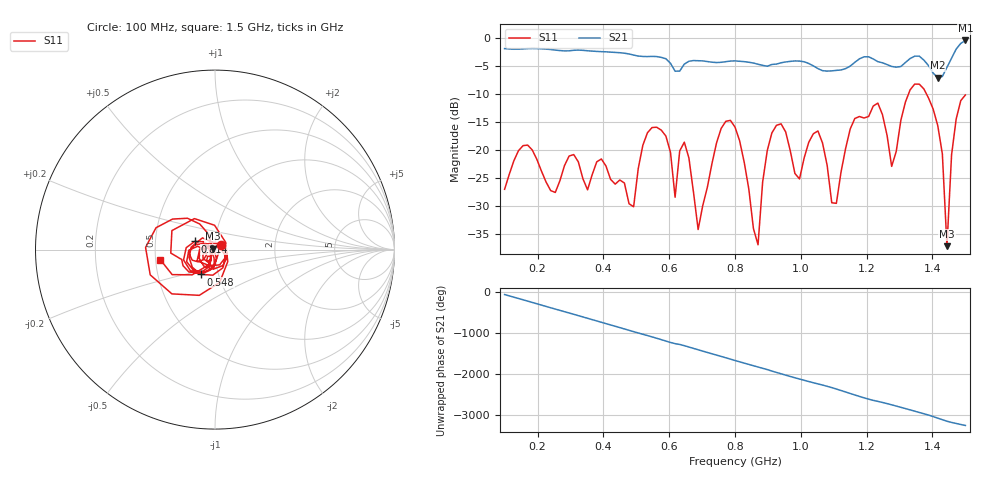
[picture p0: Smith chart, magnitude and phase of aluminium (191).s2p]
! NanoVNA-App
! Date: 2025-09-25 14:56:46
! Start: 100MHz Stop: 1,5GHz Points: 101
! S-Parameter data: F S11 S21 S12 S22
# Hz S RI R 50
!  Frequency  S11_Real  S11_Imag  S21_Real  S21_Imag  S12_Real  S12_Imag  S22_Real  S22_Imag
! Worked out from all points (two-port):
!   101 points, 100 MHz to 1.5 GHz, reference 50 ohm
!   highest |S21| = -0.47 dB at 1.5 GHz (marker M1); lowest = -7.1 dB at 1.416 GHz (marker M2)
!   |S21| within 3 dB of the highest: start of sweep to 575 MHz; 1.459 GHz to end of sweep (the widest 2 of 4)
!   lowest |S11| = -37.1 dB at 1.444 GHz (marker M3), VSWR 1.03, Z = 48.7 + j0.424 ohm
!   |S11| at or under -10 dB: start of sweep to 1.327 GHz; 1.382 GHz to end of sweep
!   S12 and S22 are empty: the file has one direction only
!   S11 on the Smith chart (normalised r, x): 100 MHz: 1.07, +0.06; 548 MHz: 0.82, -0.23; 814 MHz: 0.79, +0.07; 1.5 GHz: 0.53, -0.07
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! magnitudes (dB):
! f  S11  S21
! 100 MHz  -27.0  -1.9
! 338 MHz  -25.1  -2.2
! 492 MHz  -30.1  -3.1
! 548 MHz  -16.0  -3.3
! 576 MHz  -16.4  -3.5
! 618 MHz  -28.4  -5.9
! 646 MHz  -18.6  -4.7
! 688 MHz  -34.1  -4.1
! 800 MHz  -15.9  -4.1
! 814 MHz  -18.3  -4.2
! 870 MHz  -36.8  -4.7
! 912 MHz  -16.9  -4.7
! 996 MHz  -25.1  -4.1
! 1.038 GHz  -17.1  -5.0
! 1.094 GHz  -29.4  -5.9
! 1.234 GHz  -11.6  -4.2
! 1.276 GHz  -22.9  -5.1
! 1.346 GHz  -8.2  -3.3
! 1.416 GHz  -15.6  -7.1
! 1.444 GHz  -37.1  -5.2
! 1.458 GHz  -20.8  -3.6
! 1.5 GHz  -10.2  -0.5
